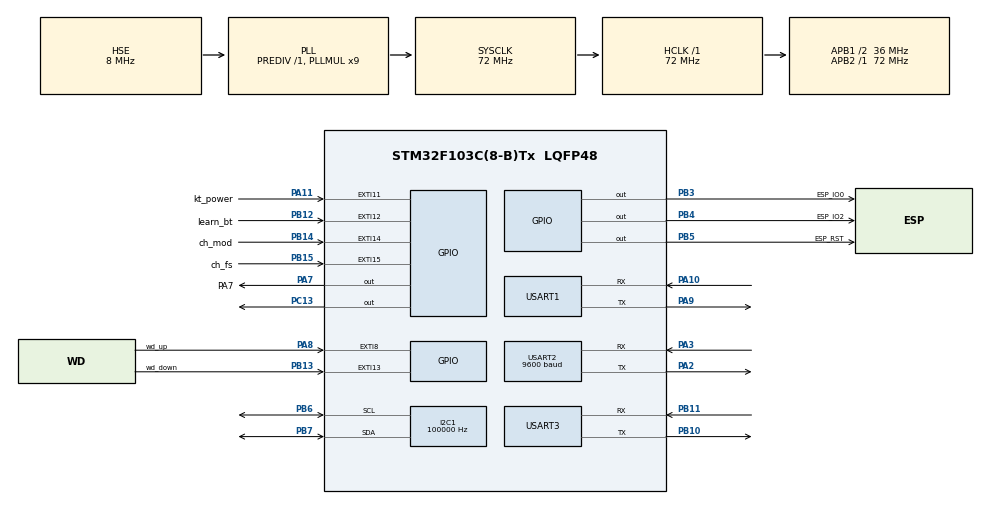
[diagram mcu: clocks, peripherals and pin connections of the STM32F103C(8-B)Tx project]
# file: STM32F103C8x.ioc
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I2C1.ClockSpeed=100000
Mcu.Family=STM32F1
Mcu.Name=STM32F103C(8-B)Tx
Mcu.Package=LQFP48
NVIC.EXTI15_10_IRQn=true\:12\:0\:true\:false\:true\:true\:true
NVIC.EXTI9_5_IRQn=true\:15\:0\:true\:false\:true\:true\:true
NVIC.PriorityGroup=NVIC_PRIORITYGROUP_4
NVIC.TIM2_IRQn=true\:1\:0\:true\:true\:true\:1\:true\:true
NVIC.USART1_IRQn=true\:6\:0\:true\:false\:true\:true\:true
NVIC.USART2_IRQn=true\:6\:0\:true\:true\:true\:2\:true\:true
NVIC.USART3_IRQn=true\:6\:0\:true\:false\:true\:true\:true
PA10.Mode=Asynchronous
PA10.Signal=USART1_RX
PA11.GPIO_Label=kt_power
PA11.GPIO_ModeDefaultEXTI=GPIO_MODE_IT_FALLING
PA11.GPIO_PuPd=GPIO_PULLUP
PA11.Signal=GPXTI11
PA13.Mode=Serial_Wire
PA13.Signal=SYS_JTMS-SWDIO
PA14.Mode=Serial_Wire
PA14.Signal=SYS_JTCK-SWCLK
PA2.Mode=Asynchronous
PA2.Signal=USART2_TX
PA3.Mode=Asynchronous
PA3.Signal=USART2_RX
PA7.GPIO_Label=PA7
PA7.Signal=GPIO_Output
PA8.GPIO_Label=wd_up
PA8.GPIO_ModeDefaultEXTI=GPIO_MODE_IT_FALLING
PA8.GPIO_PuPd=GPIO_PULLUP
PA8.Signal=GPXTI8
PA9.Mode=Asynchronous
PA9.Signal=USART1_TX
PB10.Mode=Asynchronous
PB10.Signal=USART3_TX
PB11.Mode=Asynchronous
PB11.Signal=USART3_RX
PB12.GPIO_Label=learn_bt
PB12.GPIO_ModeDefaultEXTI=GPIO_MODE_IT_FALLING
PB12.GPIO_PuPd=GPIO_PULLUP
PB12.Signal=GPXTI12
PB13.GPIO_Label=wd_down
PB13.GPIO_ModeDefaultEXTI=GPIO_MODE_IT_FALLING
PB13.GPIO_PuPd=GPIO_PULLUP
PB13.Signal=GPXTI13
PB14.GPIO_Label=ch_mod
PB14.GPIO_ModeDefaultEXTI=GPIO_MODE_IT_FALLING
PB14.GPIO_PuPd=GPIO_PULLUP
PB14.Signal=GPXTI14
PB15.GPIO_Label=ch_fs
PB15.GPIO_ModeDefaultEXTI=GPIO_MODE_IT_FALLING
PB15.GPIO_PuPd=GPIO_PULLUP
PB15.Signal=GPXTI15
PB3.GPIO_Label=ESP_IO0
PB3.Signal=GPIO_Output
PB4.GPIO_Label=ESP_IO2
PB4.Signal=GPIO_Output
PB5.GPIO_Label=ESP_RST
PB5.Signal=GPIO_Output
PB6.Mode=I2C
PB6.Signal=I2C1_SCL
PB7.Mode=I2C
PB7.Signal=I2C1_SDA
PC13-TAMPER-RTC.Signal=GPIO_Output
PD0-OSC_IN.Mode=HSE-External-Oscillator
PD0-OSC_IN.Signal=RCC_OSC_IN
PD1-OSC_OUT.Mode=HSE-External-Oscillator
PD1-OSC_OUT.Signal=RCC_OSC_OUT
ProjectManager.HeapSize=0x800
ProjectManager.StackSize=0x2000
ProjectManager.TargetToolchain=MDK-ARM V5
RCC.AHBFreq_Value=72000000
RCC.APB1CLKDivider=RCC_HCLK_DIV2
RCC.APB1Freq_Value=36000000
RCC.APB1TimFreq_Value=72000000
RCC.APB2Freq_Value=72000000
RCC.APB2TimFreq_Value=72000000
RCC.HCLKFreq_Value=72000000
RCC.PLLMUL=RCC_PLL_MUL9
RCC.PLLSourceVirtual=RCC_PLLSOURCE_HSE
RCC.SYSCLKFreq_VALUE=72000000
RCC.SYSCLKSource=RCC_SYSCLKSOURCE_PLLCLK
RCC.USBFreq_Value=72000000
TIM2.Period=10-1
TIM2.Prescaler=7200-1
USART1.VirtualMode=VM_ASYNC
USART2.BaudRate=9600
USART2.VirtualMode=VM_ASYNC
USART3.VirtualMode=VM_ASYNC
VP_TIM2_VS_ClockSourceINT.Mode=Internal
board=STM32F103C8x

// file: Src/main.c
/**
 ******************************************************************************
 * File Name          : main.c
 * Description        : Main program body
 ******************************************************************************
 ** This notice applies to any and all portions of this file
 * that are not between comment pairs USER CODE BEGIN and
 * USER CODE END. Other portions of this file, whether
 * inserted by the user or by software development tools
 * are owned by their respective copyright owners.
 *
 * COPYRIGHT(c) 2022 STMicroelectronics
 *
 * Redistribution and use in source and binary forms, with or without modification,
 * are permitted provided that the following conditions are met:
 *   1. Redistributions of source code must retain the above copyright notice,
 *      this list of conditions and the following disclaimer.
 *   2. Redistributions in binary form must reproduce the above copyright notice,
 *      this list of conditions and the following disclaimer in the documentation
 *      and/or other materials provided with the distribution.
 *   3. Neither the name of STMicroelectronics nor the names of its contributors
 *      may be used to endorse or promote products derived from this software
 *      without specific prior written permission.
 *
 * THIS SOFTWARE IS PROVIDED BY THE COPYRIGHT HOLDERS AND CONTRIBUTORS "AS IS"
 * AND ANY EXPRESS OR IMPLIED WARRANTIES, INCLUDING, BUT NOT LIMITED TO, THE
 * IMPLIED WARRANTIES OF MERCHANTABILITY AND FITNESS FOR A PARTICULAR PURPOSE ARE
 * DISCLAIMED. IN NO EVENT SHALL THE COPYRIGHT HOLDER OR CONTRIBUTORS BE LIABLE
 * FOR ANY DIRECT, INDIRECT, INCIDENTAL, SPECIAL, EXEMPLARY, OR CONSEQUENTIAL
 * DAMAGES (INCLUDING, BUT NOT LIMITED TO, PROCUREMENT OF SUBSTITUTE GOODS OR
 * SERVICES; LOSS OF USE, DATA, OR PROFITS; OR BUSINESS INTERRUPTION) HOWEVER
 * CAUSED AND ON ANY THEORY OF LIABILITY, WHETHER IN CONTRACT, STRICT LIABILITY,
 * OR TORT (INCLUDING NEGLIGENCE OR OTHERWISE) ARISING IN ANY WAY OUT OF THE USE
 * OF THIS SOFTWARE, EVEN IF ADVISED OF THE POSSIBILITY OF SUCH DAMAGE.
 *
 ******************************************************************************
 */
#include "main.h"
#include "stm32f1xx_hal.h"
#include "i2c.h"
#include "tim.h"
#include "usart.h"
#include "gpio.h"

/* USER CODE BEGIN Includes */
#include "hal_key.h"
#include "gizwits_product.h"
#include "common.h"
#include "led.h"
#include "delay.h"
#include "dht11.h"
#include "oled.h"
#include "hongwai.h"
#include "stmflash.h"

/* USER CODE END Includes */

/* USER CODE BEGIN PV */
/* Private variables ---------------------------------------------------------*/
#define GPIO_KEY_NUM 2                ///< Defines the total number of key member
keyTypedef_t singleKey[GPIO_KEY_NUM]; ///< Defines a single key member array pointer
keysTypedef_t keys;
/* USER CODE END PV */

void SystemClock_Config(void);
static void MX_NVIC_Init(void);

/* USER CODE BEGIN PFP */
/* Private function prototypes -----------------------------------------------*/

/* USER CODE END PFP */

/* USER CODE BEGIN 0 */
uint8_t buf[1024];
const uint8_t TEXT_Buffer[] = {"STM32 FLASH TEST"};
#define SIZE_BUF sizeof(TEXT_Buffer) //数组长度
#define FLASH_SAVE_ADDR 0X08009000   //设置FLASH 保存地址(必须为偶数，且其值要大于本代码所占用FLASH的大小+0X08000000)

/* USER CODE END 0 */

int main(void)
{

    /* USER CODE BEGIN 1 */
    uint16_t loop_times = 0, tt1 = 0;

    char hw_buf[1024];
    /* USER CODE END 1 */

    /* MCU Configuration----------------------------------------------------------*/

    /* Reset of all peripherals, Initializes the Flash interface and the Systick. */
    HAL_Init();

    /* Configure the system clock */
    SystemClock_Config();

    /* Initialize all configured peripherals */
    MX_GPIO_Init();
    MX_TIM2_Init();
    MX_USART1_UART_Init();
    MX_USART2_UART_Init();
    MX_USART3_UART_Init();
    MX_I2C1_Init();

    /* Initialize interrupts */
    MX_NVIC_Init();

    /* USER CODE BEGIN 2 */
    delay_init(72);
    timerInit();
    uartInit();
    userInit();
    gizwitsInit();
    GIZWITS_LOG("MCU Init Success \n");
    OLED_Init();
    OLED_Clear();
    OLED_ShowString(0, 0, "check dht11...", 16);
    DHT11_Init();
    OLED_Clear();
    OLED_ShowString(0, 0, "check onilne  ", 16);
    delay_ms(300);
    main_page();
    /* USER CODE END 2 */
    gizwitsHandle((dataPoint_t *)&currentDataPoint); //数据上报
    gizwitsHandle((dataPoint_t *)&currentDataPoint); //数据上报
    /* Infinite loop */
    while (1)
    {

        /* USER CODE BEGIN 3 */
        if (loop_times % 50 == 0)
        {
            // u3_printf("11%d\r\n", 1);
            DHT11_Read_Data(&currentDataPoint.valuewendu, &currentDataPoint.valueshidu);

            gizwitsHandle((dataPoint_t *)&currentDataPoint); //数据上报
            main_page_data();
            // uartWrite("111\r\n", 5);
        }
        if (loop_times % 100 == 0)
        {
            // u3_printf("asdasdads\r\n");
            // HW_Send_Data("1234\r\n",6);
            LED0_TOGGLE; //每500ms led 闪烁一次
            // printf("温度:%d,湿度:%d\r\n", currentDataPoint.valuewendu, currentDataPoint.valueshidu);
            loop_times = 0;
        }
        userHandle();

        loop_times++;
        if (usart_send_state != DIS_USEND)
        {
            switch (usart_send_state)
            {
            case EN_U1SEND:
                // LED0_TOGGLE;
                printf("data:%s", USART1_RX_BUF);
#if 0
                if (strcmp((char *)USART1_RX_BUF, "111") == 0)
                {
                    // printf("send data\r\n");
                    HW_Send_Data((uint8_t *)buf, IR_Learn_Pack(buf, 0));
                }
                else if (strcmp((char *)USART1_RX_BUF, "222") == 0)
                {
                    HW_Send_Data((uint8_t *)buf, IR_Send_Pack(buf, 0));
                }
                else if (strcmp((char *)USART1_RX_BUF, "333") == 0)
                {
                    HW_Send_Data((char *)inside_exit_learn_code, 9);
                }
                // u3_printf("data:%s\r\n",inside_learn_code[0][0]);
#endif
                if (strcmp((char *)USART1_RX_BUF, "soft") == 0)
                {
                    printf("\r\nairlink:%d\r\n", gizwitsSetMode(WIFI_SOFTAP_MODE));
                }
                else if (strcmp((char *)USART1_RX_BUF, "airlink") == 0)
                {
                    printf("\r\nairlink:%d\r\n", gizwitsSetMode(WIFI_AIRLINK_MODE));
                }
                else if (strcmp((char *)USART1_RX_BUF, "hw_output_0") == 0)
                {
                    HW_Send_Data((uint8_t *)hw_buf, IR_Read_Pack((uint8_t *)hw_buf, 0));
                }
                else if (strcmp((char *)USART1_RX_BUF, "hw_output_1") == 0)
                {
                    HW_Send_Data((uint8_t *)hw_buf, IR_Read_Pack((uint8_t *)hw_buf, 1));
                }
                else if (strcmp((char *)USART1_RX_BUF, "hw_output_2") == 0)
                {
                    HW_Send_Data((uint8_t *)hw_buf, IR_Read_Pack((uint8_t *)hw_buf, 2));
                }
                else if (strcmp((char *)USART1_RX_BUF, "hw_output_3") == 0)
                {
                    HW_Send_Data((uint8_t *)hw_buf, IR_Read_Pack((uint8_t *)hw_buf, 3));
                }
                else if (strcmp((char *)USART1_RX_BUF, "hw_output_4") == 0)
                {
                    HW_Send_Data((uint8_t *)hw_buf, IR_Read_Pack((uint8_t *)hw_buf, 4));
                }
                else if (strcmp((char *)USART1_RX_BUF, "hw_output_5") == 0)
                {
                    HW_Send_Data((uint8_t *)hw_buf, IR_Read_Pack((uint8_t *)hw_buf, 5));
                }
                else if (strcmp((char *)USART1_RX_BUF, "hw_output_6") == 0)
                {
                    HW_Send_Data((uint8_t *)hw_buf, IR_Read_Pack((uint8_t *)hw_buf, 6));
                }
                else if (strcmp((char *)USART1_RX_BUF, "learn_poweron") == 0)
                {
                    HW_Send_Data((uint8_t *)hw_buf, IR_Learn_Outer_Pack((uint8_t *)hw_buf));
                    KT_run_state.learn_outer = learn_on;
                }
                else if (strcmp((char *)USART1_RX_BUF, "learn_poweroff") == 0)
                {
                    HW_Send_Data((uint8_t *)hw_buf, IR_Learn_Outer_Pack((uint8_t *)hw_buf));
                    KT_run_state.learn_outer = learn_off;
                }
                else if (strcmp((char *)USART1_RX_BUF, "send_poweron") == 0)
                {
                    STMFLASH_Read(KT_POWER_ON_FLASH_ADDR, &tt1, 2); // 读取长度
                    STMFLASH_Read(KT_POWER_ON_FLASH_ADDR + 2, (uint16_t *)hw_buf, tt1);

                    // u3_printf("\r\nbuflen:%d\r\n", tt1);
                    HW_Send_Data((uint8_t *)hw_buf, tt1);
                    memset(hw_buf, 0, sizeof(hw_buf));
                }
                else if (strcmp((char *)USART1_RX_BUF, "send_poweroff") == 0)
                {
                    STMFLASH_Read(KT_POWER_OFF_FLASH_ADDR, (uint16_t *)hw_buf, 256);
                    printf("\r\nbuf:%s\r\n", hw_buf);
                    memset(hw_buf, 0, sizeof(hw_buf));
                }
                USART1_RX_STA = 0;
                memset(USART1_RX_BUF, 0, sizeof(USART1_RX_BUF));
                usart_send_state = DIS_USEND;
                break;
            case EN_U2SEND:
                usart_send_state = DIS_USEND;
                break;
            case EN_U3SEND:
                usart_send_state = DIS_USEND;
                break;
            case 4:
                printf("no compelite\r\n");
                usart_send_state = DIS_USEND;
                break;
            default:
                break;
            }
        }
        delay_ms(5);
    }
    /* USER CODE END 3 */
}

/** System Clock Configuration
 */
void SystemClock_Config(void)
{

    RCC_OscInitTypeDef RCC_OscInitStruct;
    RCC_ClkInitTypeDef RCC_ClkInitStruct;

    /**Initializes the CPU, AHB and APB busses clocks
     */
    RCC_OscInitStruct.OscillatorType = RCC_OSCILLATORTYPE_HSE;
    RCC_OscInitStruct.HSEState = RCC_HSE_ON;
    RCC_OscInitStruct.HSEPredivValue = RCC_HSE_PREDIV_DIV1;
    RCC_OscInitStruct.HSIState = RCC_HSI_ON;
    RCC_OscInitStruct.PLL.PLLState = RCC_PLL_ON;
    RCC_OscInitStruct.PLL.PLLSource = RCC_PLLSOURCE_HSE;
    RCC_OscInitStruct.PLL.PLLMUL = RCC_PLL_MUL9;
    if (HAL_RCC_OscConfig(&RCC_OscInitStruct) != HAL_OK)
    {
        _Error_Handler(__FILE__, __LINE__);
    }

    /**Initializes the CPU, AHB and APB busses clocks
     */
    RCC_ClkInitStruct.ClockType = RCC_CLOCKTYPE_HCLK | RCC_CLOCKTYPE_SYSCLK | RCC_CLOCKTYPE_PCLK1 | RCC_CLOCKTYPE_PCLK2;
    RCC_ClkInitStruct.SYSCLKSource = RCC_SYSCLKSOURCE_PLLCLK;
    RCC_ClkInitStruct.AHBCLKDivider = RCC_SYSCLK_DIV1;
    RCC_ClkInitStruct.APB1CLKDivider = RCC_HCLK_DIV2;
    RCC_ClkInitStruct.APB2CLKDivider = RCC_HCLK_DIV1;

    if (HAL_RCC_ClockConfig(&RCC_ClkInitStruct, FLASH_LATENCY_2) != HAL_OK)
    {
        _Error_Handler(__FILE__, __LINE__);
    }

    /**Configure the Systick interrupt time
     */
    HAL_SYSTICK_Config(HAL_RCC_GetHCLKFreq() / 1000);

    /**Configure the Systick
     */
    HAL_SYSTICK_CLKSourceConfig(SYSTICK_CLKSOURCE_HCLK);

    /* SysTick_IRQn interrupt configuration */
    HAL_NVIC_SetPriority(SysTick_IRQn, 0, 0);
}

/** NVIC Configuration
 */
static void MX_NVIC_Init(void)
{
    /* TIM2_IRQn interrupt configuration */
    HAL_NVIC_SetPriority(TIM2_IRQn, 1, 0);
    HAL_NVIC_EnableIRQ(TIM2_IRQn);
    /* USART2_IRQn interrupt configuration */
    HAL_NVIC_SetPriority(USART2_IRQn, 6, 0);
    HAL_NVIC_EnableIRQ(USART2_IRQn);
}

/* USER CODE BEGIN 4 */
void HAL_GPIO_EXTI_Callback(uint16_t GPIO_Pin)
{
    //  uint16_t buf_len;
    uint8_t hw_index;
    char t_t = 0; // 温差
    uint16_t tt1 = 0;
    // static u8 fs_flag = 0, mod_flag = 0, power_flag = 0, fs_dfault_flag = 1, mod_dfault_flag = 1;
    /* 按下"学习"按钮进入学习模式,按如下顺序学习:
    1.进入学习模式OLED显示"Learning"
    2.按下"温度增加"红外模块绿灯亮起,空调遥控器调整到19度然后对准孔外接收管,按下对应按键,
    红外模块LED熄灭表示学习完成,重复 10 次记录10个温度数据;
    3.按下"风速", 学习 一档风速 绿色LED亮起,接收到有效红外信息后熄灭,
    之后再按一次风速学习 二档风速 ,
    最后再按一次风速学习 三档风速;
    4.按下"模式", 同上操作,但只需按两次;
    5.按下"开机",同上操作,但只需按两次;
    6.在完成学习后再次按下学习按钮退出学习模式.
     */
    switch (GPIO_Pin)
    {
    case wd_up_Pin:
        delay_ms(10);
        if (HAL_GPIO_ReadPin(wd_up_GPIO_Port, wd_up_Pin) == 0)
        {
            printf("1 wendu:%d,%d\r\n",KT_run_state.kt_temp, currentDataPoint.valuewemdu_kongzhi);
            if (KT_run_state.run_mode == default_mode) //默认工作模式
            {
                hw_index = 0;
                KT_run_state.kt_temp++;
                if (KT_run_state.kt_temp > KT_TEMP_MAX)
                {
                    KT_run_state.kt_temp = KT_TEMP_MAX;
                }
                currentDataPoint.valuewemdu_kongzhi = KT_run_state.kt_temp; // 同步到云端
                t_t = KT_run_state.kt_temp - KT_TEMP_MIN;

                // 增加温度
                STMFLASH_Read(KT_TEMP_20_FLASH_ADDR + (KT_TEMP_ADDER_INCREASE * t_t), &tt1, 2); // 读取长度
                if (tt1 > KT_READ_MAX_LENTH)
                {
                    OLED_Clear();
                    OLED_ShowString(0, 0, "Error:read lenth to big!!", 8);
                    tt1 = 512;
                }
                STMFLASH_Read(KT_TEMP_20_FLASH_ADDR + (KT_TEMP_ADDER_INCREASE * t_t) + 2, (uint16_t *)buf, tt1);

                printf("\r\n***************buflen:%d***************\r\n", tt1);
                HW_Send_Data((uint8_t *)buf, tt1);
                memset(buf, 0, sizeof(buf));
            }
            else if (KT_run_state.run_mode == learn_mode) //学习模式,按下开始学习遥控器,从二十度开始学习
            {
                hw_index = 0;
                printf("学习增温\r\n");
                HW_Send_Data((uint8_t *)buf, IR_Learn_Outer_Pack((uint8_t *)buf));
                KT_run_state.learn_outer = learn_temp;
                KT_run_state.learn_temp_flag++;
                if (KT_run_state.learn_temp_flag > KT_TEMP_DATA_NUM)
                {
                    KT_run_state.learn_temp_flag = KT_TEMP_DATA_NUM;
                }
            }
        }
        break;
    case wd_down_Pin:
        delay_ms(10);
        if (HAL_GPIO_ReadPin(wd_down_GPIO_Port, wd_down_Pin) == 0)
        {
            printf("2 wendu:%d,%d\r\n",KT_run_state.kt_temp, currentDataPoint.valuewemdu_kongzhi);
            if (KT_run_state.run_mode == default_mode) //默认工作模式
            {
                hw_index = 1;
                KT_run_state.kt_temp--;
                if (KT_run_state.kt_temp < KT_TEMP_MIN)
                {
                    printf("1212\r\n");
                    KT_run_state.kt_temp = KT_TEMP_MIN;
                }
                currentDataPoint.valuewemdu_kongzhi = KT_run_state.kt_temp; // 同步到云端
                t_t = KT_run_state.kt_temp - KT_TEMP_MIN;

                // 增加温度
                STMFLASH_Read(KT_TEMP_20_FLASH_ADDR + (KT_TEMP_ADDER_INCREASE * t_t), &tt1, 2); // 读取长度
                if (tt1 > KT_READ_MAX_LENTH)
                {
                    OLED_Clear();
                    OLED_ShowString(0, 0, "Error:read lenth to big!!", 8);
                    tt1 = 512;
                }
                STMFLASH_Read(KT_TEMP_20_FLASH_ADDR + (KT_TEMP_ADDER_INCREASE * t_t) + 2, (uint16_t *)buf, tt1);

                printf("\r\n***************buflen:%d***************\r\n", tt1);
                HW_Send_Data((uint8_t *)buf, tt1);
                memset(buf, 0, sizeof(buf));
            }
            else if (KT_run_state.run_mode == learn_mode) //学习模式,按下开始学习遥控器
            {
                // hw_index = 1;
                printf("学习降温(没用)\r\n");
                // HW_Send_Data((uint8_t *)buf, IR_Learn_Pack(buf, hw_index));
            }
        }
        break;
    case ch_fs_Pin:
        delay_ms(10);
        if (HAL_GPIO_ReadPin(ch_fs_GPIO_Port, ch_fs_Pin) == 0)
        {
            if (KT_run_state.run_mode == default_mode) //默认工作模式
            {
                if (KT_run_state.fs_dfault_flag == 0) //等于0 发送一档风速
                {
                    hw_index = 2;
                    KT_run_state.fs_dfault_flag = 1;
                    KT_run_state.windspeed = low;
                    currentDataPoint.valuewindspeed = 0;
                    HW_Send_Data((uint8_t *)buf, IR_Send_Pack(buf, hw_index));
                }
                else if (KT_run_state.fs_dfault_flag == 1) //等于1 发送二档风速
                {
                    hw_index = 3;
                    KT_run_state.fs_dfault_flag = 2;
                    KT_run_state.windspeed = mid;
                    currentDataPoint.valuewindspeed = 1;
                    HW_Send_Data((uint8_t *)buf, IR_Send_Pack(buf, hw_index));
                }
                else if (KT_run_state.fs_dfault_flag == 2) //等于2 发送三档风速
                {
                    hw_index = 4;
                    KT_run_state.fs_dfault_flag = 0;
                    KT_run_state.windspeed = high;
                    currentDataPoint.valuewindspeed = 2;
                    HW_Send_Data((uint8_t *)buf, IR_Send_Pack(buf, hw_index));
                }
            }
            else if (KT_run_state.run_mode == learn_mode) //学习模式,按下开始学习遥控器
            {
                if (KT_run_state.fs_flag == 0) // 等于0 学习一档风速
                {
                    hw_index = 2;
                    KT_run_state.fs_flag = 1;
                    printf("学习一档风速\r\n");
                    HW_Send_Data((uint8_t *)buf, IR_Learn_Pack(buf, hw_index));
                }
                else if (KT_run_state.fs_flag == 1) // 等于1 学习二档风速
                {
                    hw_index = 3;
                    KT_run_state.fs_flag = 2;
                    printf("学习二档风速\r\n");
                    HW_Send_Data((uint8_t *)buf, IR_Learn_Pack(buf, hw_index));
                }
                else if (KT_run_state.fs_flag == 2) // 等于2 学习三档风速
                {
                    hw_index = 4;
                    KT_run_state.fs_flag = 0;
                    printf("学习三档风速\r\n");
                    HW_Send_Data((uint8_t *)buf, IR_Learn_Pack(buf, hw_index));
                }
            }
        }
        break;
    case ch_mod_Pin:
        delay_ms(10);
        if (HAL_GPIO_ReadPin(ch_mod_GPIO_Port, ch_mod_Pin) == 0)
        {
            if (KT_run_state.run_mode == default_mode) //默认工作模式
            {
                if (KT_run_state.mod_dfault_flag == 0)
                {
                    hw_index = 5;
                    KT_run_state.workmod = cool;
                    currentDataPoint.valuework_mod = 0;
                    HW_Send_Data((uint8_t *)buf, IR_Send_Pack(buf, hw_index));
                    KT_run_state.mod_dfault_flag = 1;
                }
                else if (KT_run_state.mod_dfault_flag == 1)
                {
                    hw_index = 6;
                    currentDataPoint.valuework_mod = 1;
                    HW_Send_Data((uint8_t *)buf, IR_Send_Pack(buf, hw_index));
                    KT_run_state.mod_dfault_flag = 0;
                }
            }
            else if (KT_run_state.run_mode == learn_mode) //学习模式,按下开始学习遥控器
            {
                if (KT_run_state.mod_flag == 0) // 等于0 学习制冷模式
                {
                    hw_index = 5;
                    KT_run_state.mod_flag = 1;
                    printf("学习制冷\r\n");
                    HW_Send_Data((uint8_t *)buf, IR_Learn_Pack(buf, hw_index));
                }
                else if (KT_run_state.mod_flag == 1) // 等于1 学习制暖模式
                {
                    hw_index = 6;
                    KT_run_state.mod_flag = 0;
                    printf("学习制暖\r\n");
                    HW_Send_Data((uint8_t *)buf, IR_Learn_Pack(buf, hw_index));
                }
            }
        }
        break;
    case kt_power_Pin:
        delay_ms(10);
        if (HAL_GPIO_ReadPin(kt_power_GPIO_Port, kt_power_Pin) == 0)
        {
            printf("power key press\r\n");
            if (KT_run_state.run_mode == default_mode) // 默认模式
            {
                if (KT_run_state.kt_power == 0)
                {
                    // 开机
                    STMFLASH_Read(KT_POWER_ON_FLASH_ADDR, &tt1, 2); // 读取长度
                    if (tt1 > KT_READ_MAX_LENTH)
                    {
                        OLED_Clear();
                        OLED_ShowString(0, 0, "Error:read lenth to big!!", 8);
                        tt1 = 512;
                    }
                    STMFLASH_Read(KT_POWER_ON_FLASH_ADDR + 2, (uint16_t *)buf, tt1);

                    printf("\r\n***************buflen:%d***************\r\n", tt1);
                    HW_Send_Data((uint8_t *)buf, tt1);
                    memset(buf, 0, sizeof(buf));
                    currentDataPoint.valuepower = 1;
                    KT_run_state.kt_power = 1;
                }
                else if (KT_run_state.kt_power == 1)
                {
                    // 关机
                    STMFLASH_Read(KT_POWER_OFF_FLASH_ADDR, &tt1, 2); // 读取长度
                    if (tt1 > KT_READ_MAX_LENTH)
                    {
                        OLED_Clear();
                        OLED_ShowString(0, 0, "Error:read lenth to big!!", 8);
                        tt1 = 512;
                    }
                    printf("\r\n***************buflen:%d***************\r\n", tt1);
                    STMFLASH_Read(KT_POWER_OFF_FLASH_ADDR + 2, (uint16_t *)buf, tt1);

                    HW_Send_Data((uint8_t *)buf, tt1);
                    memset(buf, 0, sizeof(buf));
                    currentDataPoint.valuepower = 0;
                    KT_run_state.kt_power = 0;
                    KT_run_state.kt_power = 0;
                    currentDataPoint.valuepower = 0;
                }
            }
            else if (KT_run_state.run_mode == learn_mode)
            {
                if (KT_run_state.power_flag == 0) // 学习开机
                {
                    printf("学习开机\r\n");
                    HW_Send_Data((uint8_t *)buf, IR_Learn_Outer_Pack((uint8_t *)buf));
                    KT_run_state.learn_outer = learn_on;
                    KT_run_state.power_flag = 1;
                }
                else if (KT_run_state.power_flag == 1)
                {
                    printf("学习关机\r\n");
                    HW_Send_Data((uint8_t *)buf, IR_Learn_Outer_Pack((uint8_t *)buf));
                    KT_run_state.learn_outer = learn_off;
                    KT_run_state.power_flag = 0;
                }
            }
        }
        break;
    case learn_bt_Pin:
        delay_ms(10);
        if (HAL_GPIO_ReadPin(learn_bt_GPIO_Port, learn_bt_Pin) == 0)
        {
            if (KT_run_state.run_mode == default_mode)
            {
                // KT_run_state.learn_outer = 1;
                KT_run_state.run_mode = learn_mode;
                printf("学习模式\r\n");
            }
            else if (KT_run_state.run_mode == learn_mode)
            {
                KT_run_state.run_mode = default_mode;
                HW_Send_Data(inside_exit_learn_code, 8);
                printf("默认模式\r\n");
            }
            // main_page_data();
        }
        break;
    default:
        break;
    }
}
/* USER CODE END 4 */

void _Error_Handler(char *file, int line)
{
    while (1)
    {
    }
}

/************************ (C) COPYRIGHT STMicroelectronics *****END OF FILE****/
